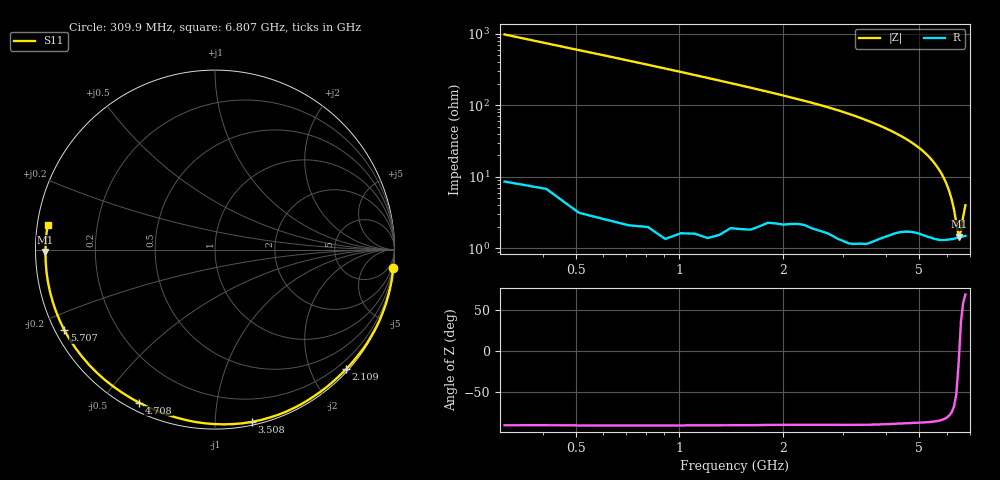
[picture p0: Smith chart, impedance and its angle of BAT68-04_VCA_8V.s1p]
! Infineon Technologies  Discrete & RF Semiconductors
! BAT68-04
! VCA = 8 V
! One-Port S-Parameters
# Hz  S  MA  R  50
!f  S11
!Hz  Mag  Ang
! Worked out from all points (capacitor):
!   66 points, 309.9 MHz to 6.807 GHz, reference 50 ohm
!   read as one part to ground: C = 527 fF near 309.9 MHz
!   lowest |Z| = 1.46 ohm at 6.507 GHz (marker M1)
!   series resonance near 6.532 GHz, so ESL is about 1.1 nH
!   S11 on the Smith chart (normalised r, x): 309.9 MHz: 0, -19; 2.109 GHz: 0.04, -2.58; 3.508 GHz: 0.02, -1.23; 4.708 GHz: 0.03, -0.62; 5.707 GHz: 0.03, -0.25; 6.807 GHz: 0.03, +0.07
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3.0985e8  0.9991 -5.9
6.097e8  0.999 -11.6
8.096e8  0.9986 -15.5
1.2094e9  0.9977 -23.4
1.6092e9  0.9946 -31.7
2.009e9  0.9899 -40.2
2.10895e9  0.9886 -42.4
2.50875e9  0.9864 -51.4
2.8086e9  0.9859 -58.7
3.0085e9  0.986 -63.9
3.2084e9  0.9852 -69.3
3.50825e9  0.9818 -78.0
3.6082e9  0.9798 -81.0
3.8081e9  0.9748 -87.1
4.008e9  0.9694 -93.4
4.2079e9  0.9632 -99.8
4.4078e9  0.9575 -106.4
4.70765e9  0.9519 -116.5
5.0075e9  0.9501 -126.8
5.2074e9  0.9506 -133.9
5.30735e9  0.9511 -137.4
5.50725e9  0.9516 -144.7
5.70715e9  0.9518 -151.9
5.90705e9  0.9506 -159.0
6.007e9  0.9498 -162.5
6.2069e9  0.9481 -169.3
6.50675e9  0.9448 -179.2
6.8066e9  0.9422 171.5
